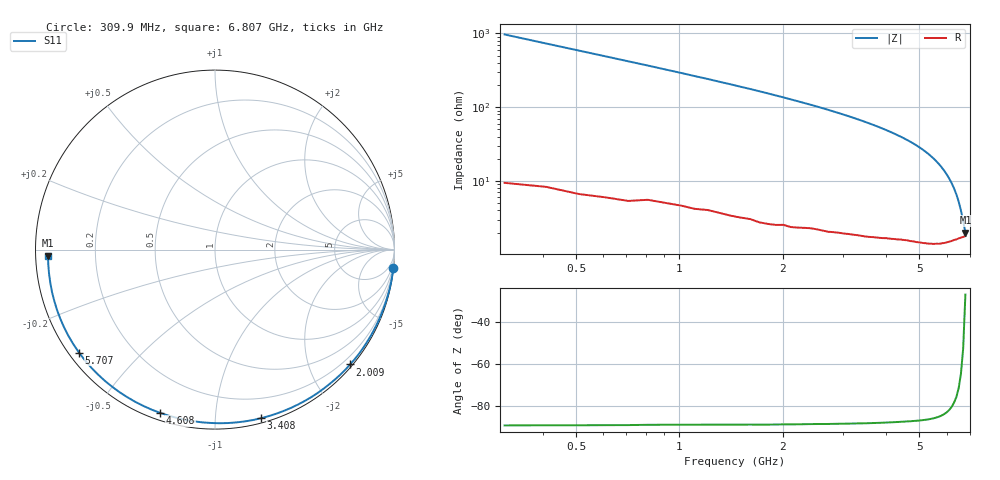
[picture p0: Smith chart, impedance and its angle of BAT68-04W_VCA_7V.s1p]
! Infineon Technologies  Discrete & RF Semiconductors
! BAT68-04W
! VCA = 7 V
! One-Port S-Parameters
# Hz  S  MA  R  50
!f  S11
!Hz  Mag  Ang
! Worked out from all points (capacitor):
!   66 points, 309.9 MHz to 6.807 GHz, reference 50 ohm
!   read as one part to ground: C = 532 fF near 309.9 MHz
!   lowest |Z| = 2 ohm at 6.807 GHz (marker M1)
!   S11 on the Smith chart (normalised r, x): 309.9 MHz: 0, -19; 2.009 GHz: 0.05, -2.72; 3.408 GHz: 0.04, -1.31; 4.608 GHz: 0.03, -0.72; 5.707 GHz: 0.03, -0.34; 6.807 GHz: 0.04, -0.02
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3.0985e8  0.999 -5.9
7.0965e8  0.997 -13.6
1.0095e9  0.9947 -19.4
1.2094e9  0.9934 -23.4
1.6092e9  0.991 -31.6
1.8091e9  0.9901 -35.9
2.009e9  0.988 -40.4
2.4088e9  0.984 -49.6
2.70865e9  0.9816 -56.8
2.8086e9  0.9803 -59.4
3.10845e9  0.977 -66.9
3.4083e9  0.9738 -74.8
3.6082e9  0.9715 -80.2
3.8081e9  0.9691 -85.7
4.008e9  0.9663 -91.2
4.2079e9  0.9639 -97.0
4.4078e9  0.9615 -102.7
4.6077e9  0.9594 -108.6
4.70765e9  0.959 -111.6
4.90755e9  0.9575 -117.6
5.2074e9  0.9552 -126.9
5.50725e9  0.9528 -136.4
5.70715e9  0.9507 -142.9
6.007e9  0.946 -152.6
6.2069e9  0.9423 -159.1
6.4068e9  0.9384 -165.5
6.6067e9  0.9343 -171.8
6.8066e9  0.931 -177.9
